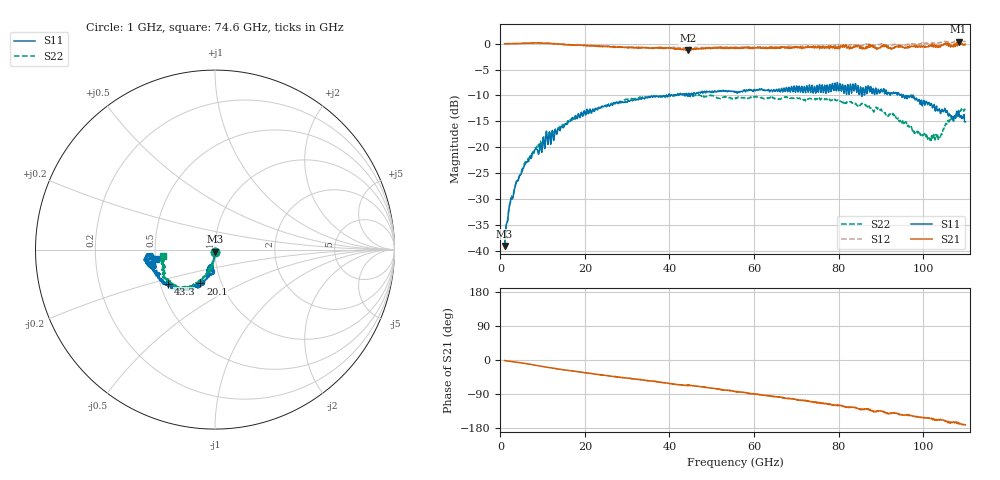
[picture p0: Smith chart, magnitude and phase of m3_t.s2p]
!Keysight Technologies,N5222B,MY58421742,A.17.00.05
!Date: Friday, September 20, 2024 13:31:11
!Correction: S11(C  2-Port  )
!S21(C  2-Port  )
!S12(C  2-Port  )
!S22(C  2-Port  )
!S2P File: Measurements: S11, S21, S12, S22:
# Hz S  dB  R 50
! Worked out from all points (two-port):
!   1091 points, 1 GHz to 110 GHz, reference 50 ohm
!   highest |S21| = 0.38 dB at 108.4 GHz (marker M1); lowest = -1.3 dB at 44.3 GHz (marker M2)
!   |S21| within 3 dB of the highest: start of sweep to end of sweep
!   lowest |S11| = -39.0 dB at 1 GHz (marker M3), VSWR 1.02, Z = 50.1 - j1.12 ohm
!   |S11| at or under -10 dB: start of sweep to 39.18 GHz; 96.01 GHz to 96.99 GHz (981.7 MHz wide, 1.02 % of centre); 97.62 GHz to end of sweep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
!   |S22| runs from -39.1 to -9.7 dB; largest |S21 - S12| = 0.23
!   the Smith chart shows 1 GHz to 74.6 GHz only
!   S11 on the Smith chart (normalised r, x): 1 GHz: 1.00, -0.02; 20.1 GHz: 0.80, -0.31; 43.3 GHz: 0.55, -0.23; 74.6 GHz: 0.50, -0.06
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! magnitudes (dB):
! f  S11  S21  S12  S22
! 1 GHz  -39.0  0.0  0.0  -39.1
! 2.4 GHz  -30.2  0.0  0.0  -30.6
! 4 GHz  -26.4  0.0  0.0  -26.1
! 6 GHz  -23.1  0.1  0.1  -22.9
! 11.2 GHz  -19.5  0.1  0.1  -17.6
! 12.3 GHz  -16.7  0.0  0.0  -17.3
! 19.2 GHz  -13.2  -0.3  -0.2  -13.6
! 20.1 GHz  -13.8  -0.4  -0.3  -13.6
! 29.5 GHz  -11.2  -0.7  -0.7  -10.8
! 37.4 GHz  -10.3  -0.8  -0.8  -10.1
! 43.3 GHz  -9.8  -1.1  -0.8  -9.7
! 44.3 GHz  -10.2  -1.3  -0.9  -9.8
! 55.5 GHz  -9.4  -0.9  -0.9  -10.5
! 73.7 GHz  -8.0  -0.7  -0.7  -10.7
! 74.6 GHz  -9.5  -0.6  -0.5  -10.7
! 85.9 GHz  -8.7  -0.8  -0.3  -11.6
! 91.9 GHz  -9.4  -0.9  -0.4  -13.7
! 101.6 GHz  -11.9  -0.3  0.1  -18.5
! 104.1 GHz  -13.5  -0.6  0.2  -17.9
! 105.8 GHz  -13.3  0.1  0.4  -14.8
! 108.4 GHz  -13.0  0.4  0.6  -13.1
! 110 GHz  -15.1  -0.1  0.5  -12.6
